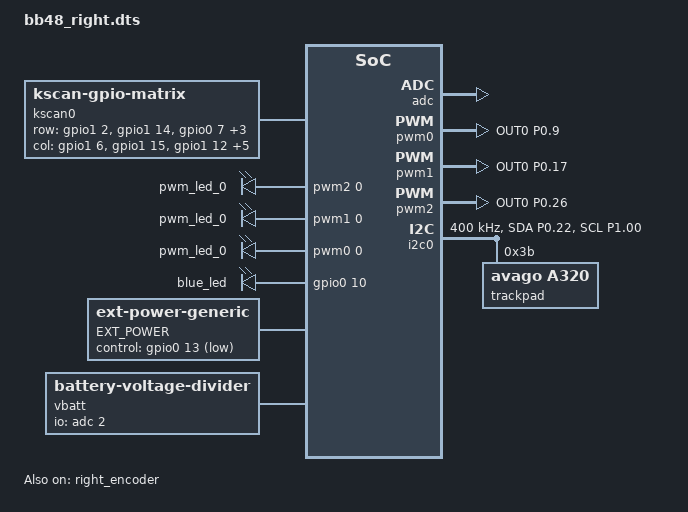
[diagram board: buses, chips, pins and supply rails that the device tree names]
/*
*
* Copyright (c) 2021 Darryl deHaan
* SPDX-License-Identifier: MIT
*
*/

#include "bb48.dtsi"

/ {
    chosen {
        zmk,custom_led = &custom_led;
        zmk,trackpad_led = &trackpad_led;
        zmk,backlight = &backlight;
        zmk,battery = &vbatt;
        zmk,trackpad_led = &trackpad_led;
    };
    kscan0: kscan {
        compatible = "zmk,kscan-gpio-matrix";
        diode-direction = "col2row";
        row-gpios
            = <&gpio1 2 (GPIO_ACTIVE_HIGH | GPIO_PULL_DOWN)>
            , <&gpio1 14  (GPIO_ACTIVE_HIGH | GPIO_PULL_DOWN)>
            , <&gpio0 7 (GPIO_ACTIVE_HIGH | GPIO_PULL_DOWN)>
            , <&gpio0 6  (GPIO_ACTIVE_HIGH | GPIO_PULL_DOWN)>
            , <&gpio1 9  (GPIO_ACTIVE_HIGH | GPIO_PULL_DOWN)>
            , <&gpio0 8  (GPIO_ACTIVE_HIGH | GPIO_PULL_DOWN)>
            ;
        col-gpios
            = <&gpio1 6  GPIO_ACTIVE_HIGH>
            , <&gpio1 15  GPIO_ACTIVE_HIGH>
            , <&gpio1 12  GPIO_ACTIVE_HIGH>
            , <&gpio1 11 GPIO_ACTIVE_HIGH>
            , <&gpio1 10 GPIO_ACTIVE_HIGH>
            , <&gpio0 27 GPIO_ACTIVE_HIGH>
            , <&gpio0 12 GPIO_ACTIVE_HIGH>
            , <&gpio0 11 GPIO_ACTIVE_HIGH>
            ;
    };

    custom_led: pwmledfo{
        compatible = "pwm-leds";
        pwm_led_0 {
            pwms = <&pwm2 0 PWM_USEC(20) PWM_POLARITY_NORMAL>;
        };
    };

    trackpad_led: pwmledo{
        compatible = "pwm-leds";
        pwm_led_0 {
            pwms = <&pwm1 0 PWM_USEC(20) PWM_POLARITY_NORMAL>;
        };
    };

    backlight: pwmleds {
        compatible = "pwm-leds";
        pwm_led_0 {
            pwms = <&pwm0 0 PWM_MSEC(10) PWM_POLARITY_NORMAL>;
        };
    };
    
    leds {
        compatible = "gpio-leds";
        blue_led: led_0 {
            gpios = <&gpio0 10 GPIO_ACTIVE_HIGH>;
        };
    };
        EXT_POWER {
        compatible = "zmk,ext-power-generic";
        control-gpios = <&gpio0 13 GPIO_ACTIVE_LOW>;
    };

    vbatt: vbatt {
        compatible = "zmk,battery-voltage-divider";
        io-channels = <&adc 2>;
        output-ohms = <2000000>;
        full-ohms = <2820000>;  // 2000000 + 820000
    };


};

&default_transform {
    col-offset = <8>;
};

&adc {
    status = "okay";
};

&gpiote {
    status = "okay";
};

&gpio0 {
    status = "okay";
};

&gpio1 {
    status = "okay";
};

&pwm0 {
    status = "okay";
    pinctrl-0 = <&pwm0_default>;
    pinctrl-1 = <&pwm0_sleep>;
    pinctrl-names = "default", "sleep";
};

&pwm1 {
    status = "okay";
    pinctrl-0 = <&pwm1_default>;
    pinctrl-1 = <&pwm1_sleep>;
    pinctrl-names = "default", "sleep";
};

&pwm2 {
    status = "okay";
    pinctrl-0 = <&pwm2_default>;
    pinctrl-1 = <&pwm2_sleep>;
    pinctrl-names = "default", "sleep";
};


 &right_encoder {
    status = "okay";
}; 

&i2c0 {
    status = "okay";
    compatible = "nordic,nrf-twim";
    clock-frequency = <I2C_BITRATE_FAST>; 
    pinctrl-0 = <&i2c0_default>;
    pinctrl-1 = <&i2c0_sleep>;
    pinctrl-names = "default", "sleep";

    trackpad:a320@3b {
        compatible = "avago,a320";
        reg = <0x3b>;
        status = "okay";
    };
};

&trackpad_split {
    device = <&trackpad>;

};

/*
 * Copyright (c) 2025 ZitaoTech
 * SPDX-License-Identifier: MIT
 */

&pinctrl {
    i2c0_default: i2c0_default {
        group1 {
            psels = <NRF_PSEL(TWIM_SDA, 0, 22)>,
                <NRF_PSEL(TWIM_SCL, 1, 00)>;
        };
    };

    i2c0_sleep: i2c0_sleep {
        group1 {
            psels = <NRF_PSEL(TWIM_SDA, 0, 22)>,
                <NRF_PSEL(TWIM_SCL, 1, 00)>;
            low-power-enable;
        };
    };


    pwm0_default:pwm0_default{
        group1{
            psels = <NRF_PSEL(PWM_OUT0, 0, 9)>; // Backlight for backlight.c unreal
        };
    };

    pwm0_sleep: pwm0_sleep {
        group1 {
            psels = <NRF_PSEL(PWM_OUT0, 0, 9)>;
            bias-pull-down;
        };
    };

    pwm1_default:pwm1_default{
        group1{
            psels = <NRF_PSEL(PWM_OUT0, 0, 17)>; // Backlight for Trackpad
        };
    };

    pwm1_sleep: pwm1_sleep {
        group1 {
            psels = <NRF_PSEL(PWM_OUT0, 0, 17)>;
            bias-pull-down;
        };
    };

    pwm2_default: pwm2_default {
        group1 {
            psels = <NRF_PSEL(PWM_OUT0, 0, 26)>; // Custom led
        };
    };

    pwm2_sleep: pwm2_sleep {
        group1 {
            psels = <NRF_PSEL(PWM_OUT0, 0, 26)>;
            bias-pull-down;
        };
    };
    
};
